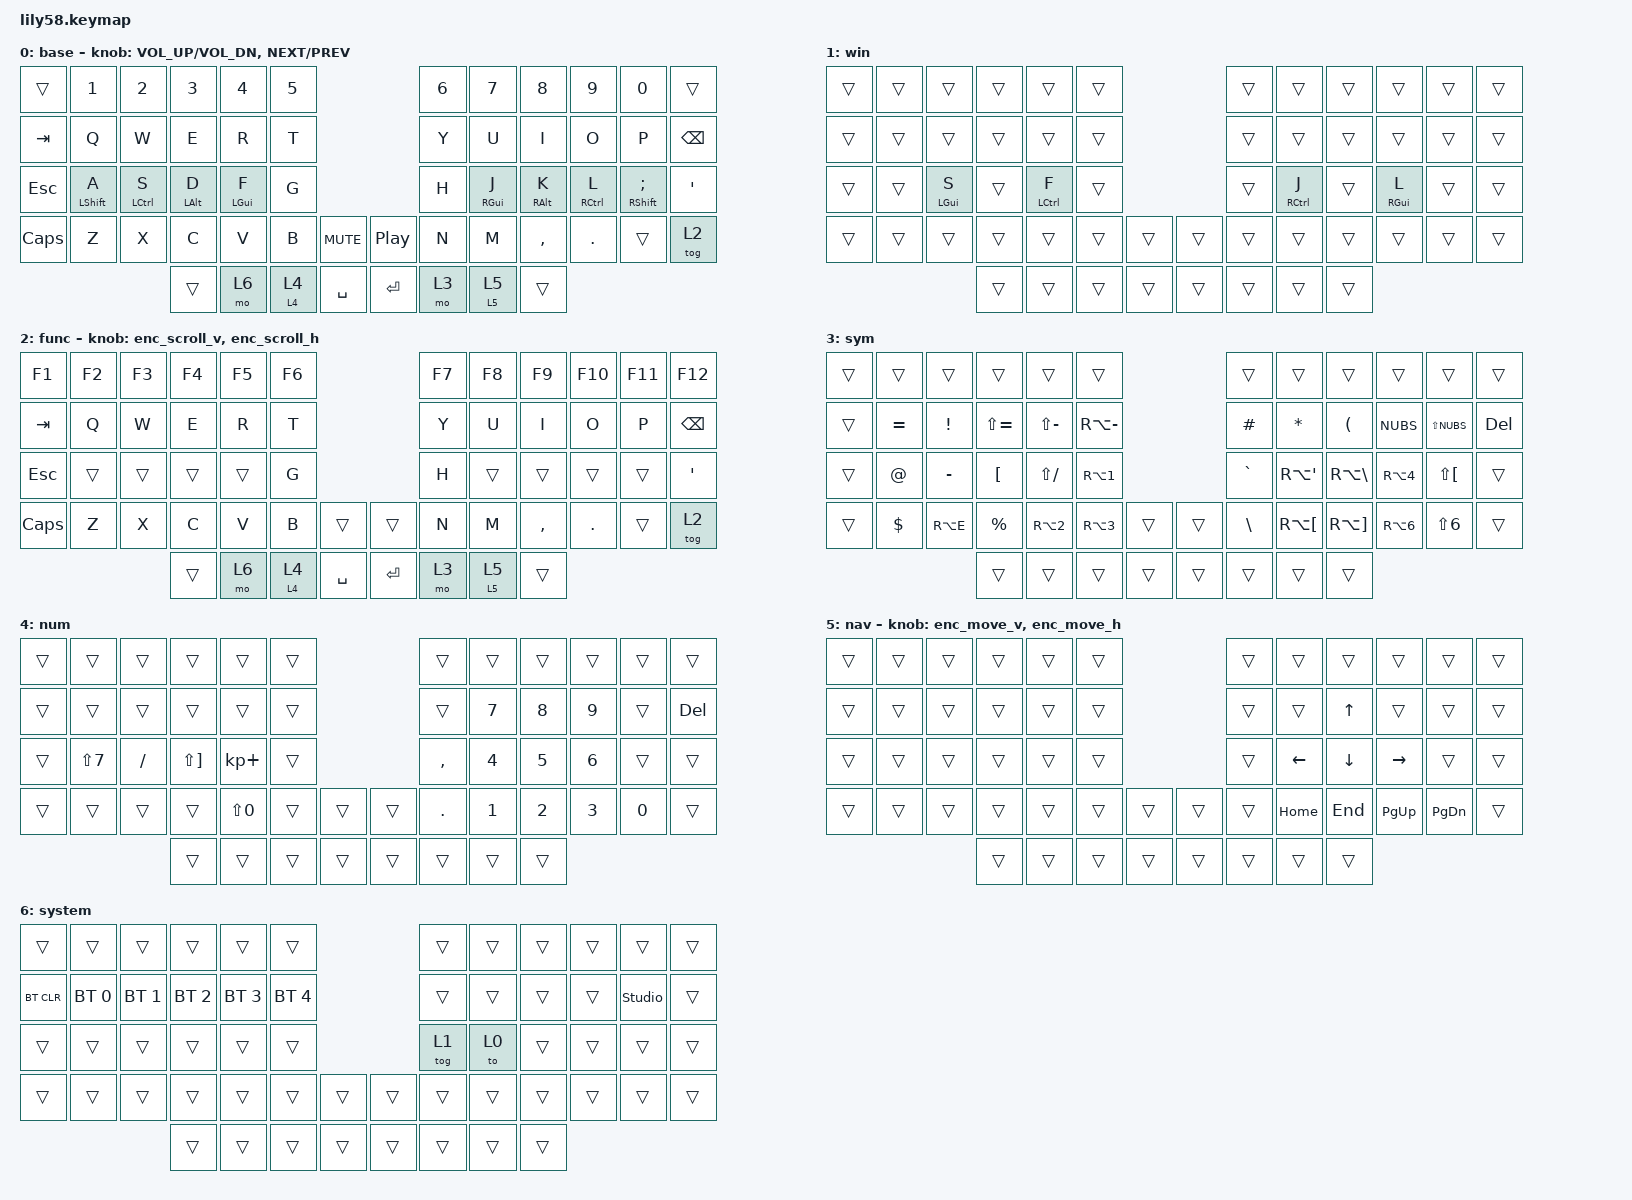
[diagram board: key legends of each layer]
/*
 * Copyright (c) 2020 The ZMK Contributors
 *
 * SPDX-License-Identifier: MIT
 */

/* Velocidad del raton/scroll para los encoders.
 *
 * ZMK mueve `velocidad * trigger-period-ms / 1000` por cada tick de 16 ms.
 * Con los valores por defecto (MOVE 600, SCRL 10) un detent del encoder, que
 * solo se mantiene pulsado unas decenas de ms, mueve menos de 1 unidad y no
 * se nota nada. Subimos la velocidad para que un solo tick ya valga un notch
 * de scroll / ~32 px de movimiento. Hay que definir antes de incluir
 * `pointing.h` (mas abajo), que es quien usa estos valores. */
#define ZMK_POINTING_DEFAULT_MOVE_VAL 300
#define ZMK_POINTING_DEFAULT_SCRL_VAL 120

#include <behaviors.dtsi>
#include <dt-bindings/zmk/keys.h>
#include <dt-bindings/zmk/bt.h>
#include <dt-bindings/zmk/pointing.h>
#include "lily58_encoders.dtsi"

/ {
    behaviors {
        hm: homerow_mods {
            compatible = "zmk,behavior-hold-tap";
            #binding-cells = <2>;
            bindings = <&kp>, <&kp>;
            flavor = "tap-preferred";
            tapping-term-ms = <300>;
            quick-tap-ms = <200>;
            require-prior-idle-ms = <130>;
        };

        /* Capa pegajosa: tap = &tog (te quedas en la capa),
         * hold = &mo (solo mientras la mantienes).
         * Uso: &to_mo <hold>, <tap>  -> ambos son el numero de capa.
         *
         * El tap usa &tog y no &to a proposito: &to desactiva todas las
         * capas no-base, incluida win_layer, asi que entrar en NUM/NAV
         * apagaria el modo Windows sin avisar. Con &tog el modo se conserva
         * y el mismo thumb (que en NUM/NAV queda en &trans) lo vuelve a
         * apagar. */
        to_mo: to_mo {
            compatible = "zmk,behavior-hold-tap";
            #binding-cells = <2>;
            bindings = <&mo>, <&tog>;
            flavor = "balanced";
            tapping-term-ms = <200>;
        };

        /* Encoders como raton.
         *
         * `zmk,behavior-sensor-rotate` es el unico tipo de behavior que vale
         * en `sensor-bindings`. El primer binding es el giro horario (CW) y el
         * segundo el antihorario (CCW); CW va hacia el eje positivo: arriba en
         * vertical y derecha en horizontal.
         *
         * `tap-ms` es lo que se mantiene pulsado el binding por cada detent:
         * tiene que pasar de los 16 ms del tick de `&msc`/`&mmv`
         * (trigger-period-ms) para que se emita al menos un evento, y quedarse
         * por debajo de 32 ms para que no se emitan dos. */
        enc_scroll_v: enc_scroll_v {
            compatible = "zmk,behavior-sensor-rotate";
            #sensor-binding-cells = <0>;
            bindings = <&msc SCRL_DOWN>, <&msc SCRL_UP>;
            tap-ms = <30>;
        };

        enc_scroll_h: enc_scroll_h {
            compatible = "zmk,behavior-sensor-rotate";
            #sensor-binding-cells = <0>;
            bindings = <&msc SCRL_RIGHT>, <&msc SCRL_LEFT>;
            tap-ms = <30>;
        };

        enc_move_v: enc_move_v {
            compatible = "zmk,behavior-sensor-rotate";
            #sensor-binding-cells = <0>;
            bindings = <&mmv MOVE_DOWN>, <&mmv MOVE_UP>;
            tap-ms = <30>;
        };

        enc_move_h: enc_move_h {
            compatible = "zmk,behavior-sensor-rotate";
            #sensor-binding-cells = <0>;
            bindings = <&mmv MOVE_RIGHT>, <&mmv MOVE_LEFT>;
            tap-ms = <30>;
        };
    };

    keymap {
        compatible = "zmk,keymap";

        default_layer {
// ------------------------------------------------------------------------------------------------------------
// |       |  1  |  2  |  3  |  4  |  5  |                  |  6  |  7  |  8  |  9  |  0  |      |
// |  TAB  |  Q  |  W  |  E  |  R  |  T  |                  |  Y  |  U  |  I  |  O  |  P  | BSPC |
// │  ESC  │  A⇧ │  S⌃ │  D⌥ │  F⌘ │  G  │                  │  H  │  J⌘ │  K⌥ │  L⌃ │  Ñ⇧ │  '   │
// | MAYUS |  Z  |  X  |  C  |  V  |  B  | MUTE  |  |  ▶⏸   |  N  |  M  |  ,  |  .  |     | TOG1 |
//                     |     | SYS | NUM | SPACE |  | ENTER | SYM | NAV |     |
            display-name = "base";
            bindings = <
&trans    &kp N1        &kp N2       &kp N3      &kp N4      &kp N5                             &kp N6  &kp N7      &kp N8      &kp N9       &kp N0          &trans
&kp TAB   &kp Q         &kp W        &kp E       &kp R       &kp T                              &kp Y   &kp U       &kp I       &kp O        &kp P           &kp BSPC
&kp ESC   &hm LSHIFT A  &hm LCTRL S  &hm LALT D  &hm LGUI F  &kp G                              &kp H   &hm RGUI J  &hm RALT K  &hm RCTRL L  &hm RSHFT SEMI  &kp SQT
&kp CAPS  &kp Z         &kp X        &kp C       &kp V       &kp B       &kp C_MUTE  &kp C_PP   &kp N   &kp M       &kp COMMA   &kp DOT      &trans          &tog 2
                                     &trans      &mo 6       &to_mo 4 4  &kp SPACE   &kp ENTER  &mo 3   &to_mo 5 5  &trans
            >;
            sensor-bindings = <
                &inc_dec_kp C_VOL_UP C_VOL_DN
                &inc_dec_kp C_NEXT C_PREV
            >;
        };

        /* Modo Windows/Linux: intercambia Ctrl y Gui (Command en macOS) en los
         * homerow mods, para que Ctrl quede donde esta el Command.
         *
         * Es una capa fina por encima de base y por debajo de func/sym/num/nav:
         * solo define las cuatro teclas que cambian y deja el resto en &trans,
         * asi que no toca simbolos, numeros ni navegacion. Al estar por debajo
         * de esas capas, no tapa sus teclas; en func se aplica igual porque su
         * homerow es &trans, y en nav deja S/F libres para hacer Ctrl+flecha.
         *
         * Se enciende con WIN (&tog 1) y se apaga con MAC (&to 0), las dos en
         * system_layer. */
        win_layer {
            display-name = "win";
            bindings = <
&trans  &trans  &trans      &trans  &trans       &trans                  &trans  &trans       &trans  &trans      &trans  &trans
&trans  &trans  &trans      &trans  &trans       &trans                  &trans  &trans       &trans  &trans      &trans  &trans
&trans  &trans  &hm LGUI S  &trans  &hm LCTRL F  &trans                  &trans  &hm RCTRL J  &trans  &hm RGUI L  &trans  &trans
&trans  &trans  &trans      &trans  &trans       &trans  &trans  &trans  &trans  &trans       &trans  &trans      &trans  &trans
                            &trans  &trans       &trans  &trans  &trans  &trans  &trans       &trans
            >;
        };

        function_layer {
// ------------------------------------------------------------------------------------------------------------
// |  F1   |  F2  |  F3  |  F4  |  F5  |  F6  |                  |  F7  |  F8  |  F9  |  F10 |  F11 | F12  |
// |  TAB  |  Q   |  W   |  E   |  R   |  T   |                  |  Y   |  U   |  I   |  O   |  P   | BSPC |
// │  ESC  │  ·   │  ·   │  ·   │  ·   │  G   │                  │  H   │  ·   │  ·   │  ·   │  ·   │  '   │
// | MAYUS |  Z   |  X   |  C   |  V   |  B   |       |  |       |  N   |  M   |  ,   |  .   |      | TOG1 |
//                       |      |  SYS |  NUM | SPACE |  | ENTER |  SYM |  NAV |      |
// Los modificadores de la fila central (·) se heredan de base para que el
// modo win/mac se aplique tambien con func activa.
            display-name = "func";
            bindings = <
&kp F1    &kp F2  &kp F3  &kp F4  &kp F5  &kp F6                        &kp F7     &kp F8  &kp F9      &kp F10  &kp F11  &kp F12
&kp TAB   &kp Q   &kp W   &kp E   &kp R   &kp T                         &kp Y      &kp U   &kp I       &kp O    &kp P    &kp BSPC
&kp ESC   &trans  &trans  &trans  &trans  &kp G                         &kp H      &trans  &trans      &trans   &trans   &kp SQT
&kp CAPS  &kp Z   &kp X   &kp C   &kp V   &kp B  &trans      &trans     &kp N      &kp M   &kp COMMA   &kp DOT  &trans   &tog 2
                                  &trans  &mo 6  &to_mo 4 4  &kp SPACE  &kp ENTER  &mo 3   &to_mo 5 5  &trans
            >;
            sensor-bindings = <&enc_scroll_v &enc_scroll_h>;
        };

        sym_layer {
// ------------------------------------------------------------------------------------------------------------
// |     |     |     |     |     |     |                  |     |     |     |     |     |     |
// |     |  ¡  |  !  |  ¿  |  ?  |  \  |                  |  ·  |  (  |  )  |  <  |  >  | DEL |
// |     |  "  |  '  |  `  |  _  |  |  |                  |  º  |  {  |  }  |  ~  |  ^  |     |
// |     |  $  |  €  |  %  |  @  |  #  |       |  |       |  ç  |  [  |  ]  |  ¬  |  &  |     |
//                   |     |     |     |       |  |       |     |     |     |
            display-name = "sym";
            bindings = <
&trans  &trans      &trans     &trans       &trans        &trans                        &trans         &trans        &trans             &trans      &trans        &trans
&trans  &kp EQL     &kp EXCL   &kp LS(EQL)  &kp LS(MINUS) &kp RA(MINUS)                 &kp HASH       &kp ASTRK     &kp LPAR           &kp NUBS    &kp LS(NUBS)  &kp DEL
&trans  &kp AT      &kp MINUS  &kp LBKT     &kp LS(FSLH)  &kp RA(N1)                    &kp GRAVE      &kp RA(SQT)   &kp RA(BACKSLASH)  &kp RA(N4)  &kp LS(LBKT)  &trans
&trans  &kp DOLLAR  &kp RA(E)  &kp PRCNT    &kp RA(N2)    &kp RA(N3)    &trans  &trans  &kp BACKSLASH  &kp RA(LBKT)  &kp RA(RBKT)       &kp RA(N6)  &kp LS(N6)    &trans
                               &trans       &trans        &trans        &trans  &trans  &trans         &trans        &trans
            >;
        };

        num_layer {
// ------------------------------------------------------------------------------------------------------------
// |     |     |     |     |     |     |                  |     |     |     |     |     |     |
// |     |     |     |     |     |     |                  |     |  7  |  8  |  9  |     | DEL |
// |     |  /  |  -  |  *  |  +  |     |                  |  ,  |  4  |  5  |  6  |     |     |
// |     |     |     |     |  =  |     |       |  |       |  .  |  1  |  2  |  3  |  0  |     |
//                   |     |     |     |       |  |       |     |     |     |
            display-name = "num";
            bindings = <
&trans    &trans      &trans     &trans        &trans       &trans                  &trans      &trans  &trans  &trans  &trans  &trans
&trans    &trans      &trans     &trans        &trans       &trans                  &trans      &kp N7  &kp N8  &kp N9  &trans  &kp DEL
&trans    &kp LS(N7)  &kp SLASH  &kp LS(RBKT)  &kp KP_PLUS  &trans                  &kp COMMA   &kp N4  &kp N5  &kp N6  &trans  &trans
&trans    &trans      &trans     &trans        &kp LS(N0)   &trans  &trans  &trans  &kp PERIOD  &kp N1  &kp N2  &kp N3  &kp N0  &trans
                                 &trans        &trans       &trans  &trans  &trans  &trans      &trans  &trans
            >;
        };

        nav_layer {
// ------------------------------------------------------------------------------------------------------------
// |     |     |     |     |     |     |                  |     |      |     |      |      |     |
// |     |     |     |     |     |     |                  |     |      |  ↑  |      |      |     |
// |     |     |     |     |     |     |                  |     |  ←   |  ↓  |  →   |      |     |
// |     |     |     |     |     |     |       |  |       |     | HOME | END | PGUP | PGDN |     |
//                   |     |     |     |       |  |       |     |      |     |
            display-name = "nav";
            bindings = <
&trans  &trans  &trans  &trans  &trans  &trans                    &trans  &trans    &trans    &trans     &trans     &trans
&trans  &trans  &trans  &trans  &trans  &trans                    &trans  &trans    &kp UP    &trans     &trans     &trans
&trans  &trans  &trans  &trans  &trans  &trans                    &trans  &kp LEFT  &kp DOWN  &kp RIGHT  &trans     &trans
&trans  &trans  &trans  &trans  &trans  &trans  &trans  &trans    &trans  &kp HOME  &kp END   &kp PG_UP  &kp PG_DN  &trans
                                &trans  &trans  &trans  &trans    &trans  &trans    &trans  &trans
            >;
            sensor-bindings = <&enc_move_v &enc_move_h>;
        };

        system_layer {
// ------------------------------------------------------------------------------------------------------------
// |       |     |     |     |     |     |                  |     |     |     |     |            |     |
// | BTCLR | BT1 | BT2 | BT3 | BT4 | BT5 |                  |     |     |     |     | ZMK_STUDIO |     |
// |       |     |     |     |     |     |                  | MAC | WIN |     |     |            |     |
// |       |     |     |     |     |     |       |  |       |     |     |     |     |            |     |
//                     |     |     |     |       |  |       |     |     |     |
            display-name = "system";
            bindings = <
&trans      &trans        &trans        &trans        &trans        &trans                        &trans  &trans  &trans  &trans  &trans          &trans
&bt BT_CLR  &bt BT_SEL 0  &bt BT_SEL 1  &bt BT_SEL 2  &bt BT_SEL 3  &bt BT_SEL 4                  &trans  &trans  &trans  &trans  &studio_unlock  &trans
&trans      &trans        &trans        &trans        &trans        &trans                        &tog 1  &to 0   &trans  &trans  &trans          &trans
&trans      &trans        &trans        &trans        &trans        &trans        &trans  &trans  &trans  &trans  &trans  &trans  &trans          &trans
                                        &trans        &trans        &trans        &trans  &trans  &trans  &trans  &trans
            >;
        };
    };
};

/* Para los encoders queremos velocidad constante: con aceleracion cada tick
 * del primer tramo mueve mucho menos que el maximo y el detent se queda
 * practicamente quieto. `&msc` ya usa exponente 0. */
&mmv {
    acceleration-exponent = <0>;
};
